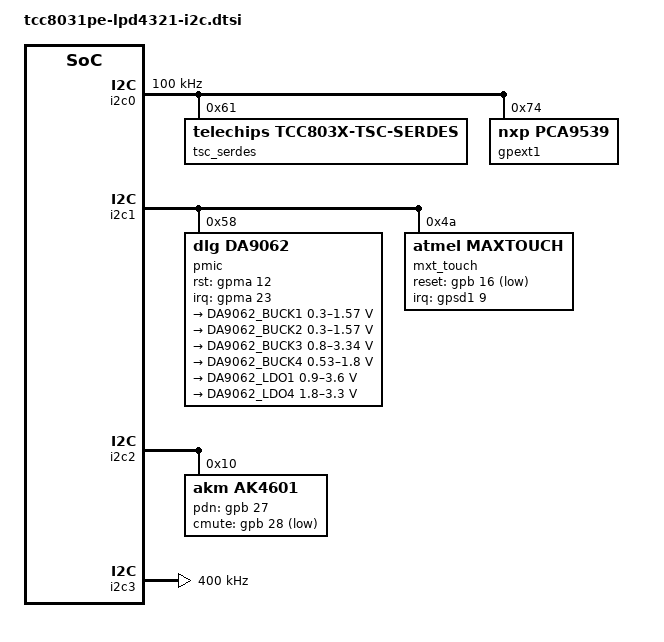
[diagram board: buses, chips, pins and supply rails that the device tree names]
// SPDX-License-Identifier: (GPL-2.0-or-later OR MIT)
/*
 * Copyright (C) 2023 Telechips Inc.
 */

#include <dt-bindings/gpio/gpio.h>
#include <dt-bindings/interrupt-controller/arm-gic.h>

&i2c0 {
	status = "okay";
	port-mux = <11>;
	pinctrl-names = "default", "sleep";
	pinctrl-0 = <&i2c11_bus_active>;
	pinctrl-1 = <&i2c11_bus_sleep>;
	clock-frequency = <100000>;

	#address-cells = <1>;
	#size-cells = <0>;

	/* Use burst-mode for serdes */
	burst-mode;

	/* carplay ack timeout count: 500 */
	retry-count = <500>;

	tsc_serdes@61 {
		compatible = "telechips,tcc803x-tsc-serdes";
		status = "okay";
		reg = <0x61>;
		max-disp-num = <1>;
		/* 0x01: TCC803XPE_EVB
		   0x02: TCC8059_EVB
		   0x04: TCC8050_53_EVB
		   0x08: TCC8070_EVB */
		board-type = <0x01>;
	};

	gpext1: tca9539@74 {
		compatible = "nxp,pca9539";
		reg = <0x74>;
		gpio-controller;
		#gpio-cells = <2>;
	};

};

&i2c1 {
	status = "okay";
	port-mux = <6>;
	pinctrl-names = "default", "sleep";
	pinctrl-0 = <&i2c6_bus_active>;
	pinctrl-1 = <&i2c6_bus_sleep>;

	#address-cells = <1>;
	#size-cells = <0>;

	/* Use burst-mode for touch */
	burst-mode;

	/* Retransmission due to nack response from mxt touch */
	retry-count = <100>;

	pmic@58 {
		compatible = "dlg,da9062";
		reg = <0x58>;
		rst-gpios = <&gpma 12 0>;

		interrupt-parent = <&gpma>;
		interrupts = <23 IRQ_TYPE_LEVEL_LOW>;
		interrupt-controller;

		pinctrl-names = "default";
		pinctrl-0 = <&da9062_irq>;

		da9062_gpio: gpio {
			compatible = "dlg,da9062-gpio";
			gpio-controller;
			#gpio-cells = <2>;
		};

		regulators {
			DA9062_BUCK1: buck1 {
				regulator-name = "vdd_cpu0";
				regulator-min-microvolt = <300000>;
				regulator-max-microvolt = <1570000>;
				regulator-min-microamp = <500000>;
				regulator-max-microamp = <2000000>;
				regulator-always-on;
			};

			DA9062_BUCK2: buck2 {
				regulator-name = "vdd_gv";
				regulator-min-microvolt = <300000>;
				regulator-max-microvolt = <1570000>;
				regulator-min-microamp = <500000>;
				regulator-max-microamp = <2000000>;
				regulator-always-on;
			};

			DA9062_BUCK3: buck3 {
				regulator-name = "vdd_core";
				regulator-min-microvolt = <800000>;
				regulator-max-microvolt = <3340000>;
				regulator-min-microamp = <500000>;
				regulator-max-microamp = <2000000>;
				regulator-always-on;
			};

			DA9062_BUCK4: buck4 {
				regulator-name = "vdd_cpu1";
				regulator-min-microvolt = <530000>;
				regulator-max-microvolt = <1800000>;
				regulator-min-microamp = <500000>;
				regulator-max-microamp = <2000000>;
				regulator-always-on;
			};

			DA9062_LDO1: ldo1 {
				regulator-name = "vdd_io";
				regulator-min-microvolt = <900000>;
				regulator-max-microvolt = <3600000>;
				regulator-always-on;
			};
#if 0
			/* Temp block for LDO2. Block min-microvolt of LDO2 */
			DA9062_LDO2: ldo2 {
				regulator-name = "mem_1p8";
				regulator-min-microvolt = <1700000>;
				regulator-max-microvolt = <1800000>;
				regulator-always-on;
				regulator-boot-on;
			};
#endif
			DA9062_LDO4: ldo4 {
				regulator-name = "sdio_pwr";
				regulator-min-microvolt = <1800000>;
				regulator-max-microvolt = <3300000>;
				regulator-always-on;
				regulator-boot-on;
			};
		};
	}; /* pmic da9062 */

	mxt_touch@4a {
		compatible = "atmel,maxtouch";
		reg = <0x4a>;
		pinctrl-names = "default";
		pinctrl-0 = <&tsc_default>;

		interrupt-parent = <&gpsd1>;
		interrupts = <9 IRQ_TYPE_EDGE_FALLING>;
		reset-gpios = <&gpb 16 GPIO_ACTIVE_LOW>;
	};
};


&i2c2 {
	status = "okay";
	port-mux = <13>;
	pinctrl-names = "default", "sleep";
	pinctrl-0 = <&i2c13_bus_active>;
	pinctrl-1 = <&i2c13_bus_sleep>;

	#address-cells = <1>;
	#size-cells = <0>;

	ak4601: ak4601@10 {
		compatible = "akm,ak4601";
		ak4601,pdn-gpio = <&gpb 27 0>;
		cmute-gpios = <&gpb 28 1>;	//CODEC_MUTE    0: active high, 1: active low
		//amute-gpios = <&gpma 27 0>;	//AMP_MUTE      0: active high, 1: active low
		//stanby-gpios = <&gpma 26 0>;	//AMP_STBY      0: active high, 1: active low
		reg = <0x10>;
	};
};

&i2c3 {
	status = "okay";
	port-mux = <22>; /* [0]SCL [1]SDA */
	pinctrl-names = "default", "sleep";
	pinctrl-0 = <&i2c22_bus_active>;
	pinctrl-1 = <&i2c22_bus_sleep>;
	clock-frequency = <400000>;
};

&pinctrl {
	i2c6_bus_active: i2c6_bus_active {
		telechips,pins = "gpa-22", "gpa-23";
		telechips,pin-function = <8>;
		telechips,input_buffer_enable;
		telechips,no-pull;
	};

	i2c11_bus_active: i2c11_bus_active {
		telechips,pins = "gpb-19", "gpb-20";
		telechips,pin-function = <8>;
		telechips,input_buffer_enable;
		telechips,no-pull;
	};

	i2c13_bus_active: i2c13_bus_active {
		telechips,pins = "gpb-23", "gpb-24";
		telechips,pin-function = <8>;
		telechips,input_buffer_enable;
		telechips,no-pull;
	};

	i2c22_bus_active: i2c22_bus_active {
		telechips,pins = "gph-4", "gph-5";
		telechips,pin-function = <9>;
		telechips,input_buffer_enable;
		telechips,no-pull;
	};

	i2c6_bus_sleep: i2c6_bus_sleep {
		telechips,pins = "gpa-22", "gpa-23";
		telechips,pin-function = <0>;
		telechips,no-pull;
	};

	i2c11_bus_sleep: i2c11_bus_sleep {
		telechips,pins = "gpb-19", "gpb-20";
		telechips,pin-function = <0>;
		telechips,no-pull;
	};

	i2c13_bus_sleep: i2c13_bus_sleep {
		telechips,pins = "gpb-23", "gpb-24";
		telechips,pin-function = <0>;
		telechips,no-pull;
	};

	i2c22_bus_sleep: i2c22_bus_sleep {
		telechips,pins = "gph-4", "gph-5";
		telechips,pin-function = <0>;
		telechips,no-pull;
	};

	da9062_irq: da9062_irq {
		telechips,pins = "gpma-23";
		telechips,pin-function = <0>;
		telechips,input_buffer_enable;
		telechips,input-enable;
	};

	da9063_irq: da9063_irq {
		telechips,pins = "gpma-12";
		telechips,pin-function = <0>;
		telechips,input_buffer_enable;
		telechips,input-enable;
	};

	tsc_default: tsc_default {
		telechips,pins = "gpsd1-9", "gpb-16";
		telechips,pin-function = <0>;
		telechips,no-pull;
	};
};
